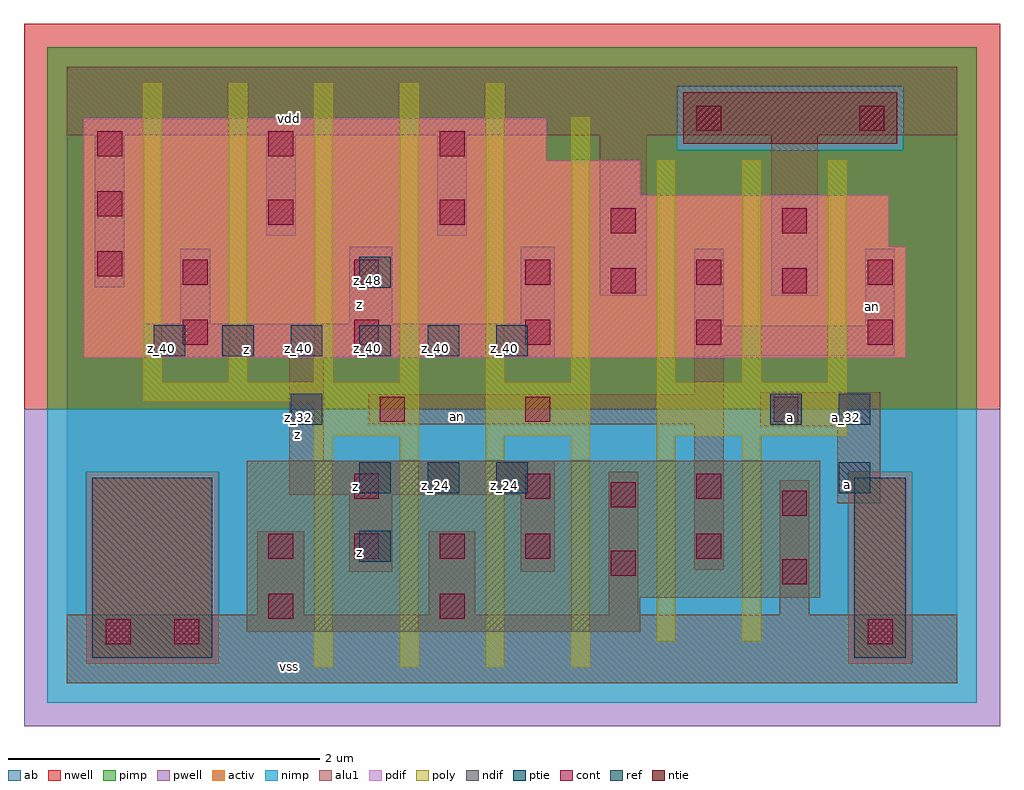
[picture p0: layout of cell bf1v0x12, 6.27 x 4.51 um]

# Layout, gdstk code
import gdstk
lib = gdstk.Library(unit=1e-6, precision=2.5e-09)
def R(c, l, rs):  # rectangles x0, y0, x1, y1
    for r in rs: c.add(gdstk.rectangle(r[:2], r[2:], *l))
def A(c, l, x, y, w, h, nx, ny, dx, dy):  # array of equal rectangles
    R(c, l, [(x+i*dx, y+j*dy, x+i*dx+w, y+j*dy+h) for i in range(nx) for j in range(ny)])
ndif = (3, 0)
pdif = (4, 0)
ntie = (5, 0)
ptie = (6, 0)
ref = (24, 0)
cont = (25, 0)
pwell = (41, 0)
nwell = (42, 0)
activ = (43, 0)
pimp = (44, 0)
nimp = (45, 0)
poly = (46, 0)
alu1 = (49, 0)
ab = (63, 0)

bf1v0x12 = lib.new_cell('bf1v0x12')
R(bf1v0x12, ndif, [(1.155,0.33,3.685,0.55), (1.155,0.55,4.84,1.43)])
R(bf1v0x12, pdif, [(0.11,2.09,5.39,2.805), (0.11,2.805,5.28,3.135), (0.11,3.135,3.685,3.355), (0.11,3.355,3.08,3.63)])
R(bf1v0x12, ntie, [(3.96,3.465,5.335,3.795)])
R(bf1v0x12, ptie, [(0.165,0.165,0.935,1.32), (5.06,0.165,5.39,1.32)])
A(bf1v0x12, ref, 1.88, 1.22, 0.2, 0.2, 3, 1, 0.44, 0)
A(bf1v0x12, ref, 0.56, 2.1, 0.2, 0.2, 6, 1, 0.44, 0)
R(bf1v0x12, ref, [(1.88,0.78,2.08,0.98), (4.96,1.22,5.16,1.42), (1.44,1.66,1.64,1.86), (4.52,1.66,4.72,1.86), (4.96,1.66,5.16,1.86), (1.88,2.54,2.08,2.74)])
A(bf1v0x12, cont, 1.295, 0.8, 0.16, 0.16, 4, 1, 0.55, 0)
A(bf1v0x12, cont, 1.845, 1.185, 0.16, 0.16, 3, 1, 1.1, 0)
A(bf1v0x12, cont, 0.745, 2.175, 0.16, 0.16, 5, 2, 1.1, 0.385)
A(bf1v0x12, cont, 0.195, 3.385, 0.16, 0.16, 3, 1, 1.1, 0)
R(bf1v0x12, cont, [(0.25,0.25,0.41,0.41), (0.69,0.25,0.85,0.41), (5.145,0.25,5.305,0.41), (1.295,0.415,1.455,0.575), (2.395,0.415,2.555,0.575), (4.595,0.635,4.755,0.795), (3.495,0.69,3.655,0.85), (4.045,0.8,4.205,0.96), (4.595,1.075,4.755,1.235), (3.495,1.13,3.655,1.29), (2.01,1.68,2.17,1.84), (2.945,1.68,3.105,1.84), (4.54,1.68,4.7,1.84), (3.495,2.505,3.655,2.665), (4.595,2.505,4.755,2.665), (0.195,2.615,0.355,2.775), (3.495,2.89,3.655,3.05), (4.595,2.89,4.755,3.05), (1.295,2.945,1.455,3.105), (2.395,2.945,2.555,3.105), (0.195,3,0.355,3.16), (4.045,3.55,4.205,3.71), (5.09,3.55,5.25,3.71)])
R(bf1v0x12, pwell, [(-0.275,-0.275,5.995,1.76)])
R(bf1v0x12, nwell, [(-0.275,1.76,5.995,4.235)])
R(bf1v0x12, activ, [(0.165,0.165,0.935,1.32), (5.06,0.165,5.39,1.32), (1.155,0.33,3.685,0.55), (1.155,0.55,4.84,1.43), (0.11,2.09,5.39,2.805), (0.11,2.805,5.28,3.135), (0.11,3.135,3.685,3.355), (0.11,3.355,3.08,3.63), (3.96,3.465,5.335,3.795)])
R(bf1v0x12, pimp, [(0.125,0.125,0.975,1.36), (5.02,0.125,5.43,1.36), (-0.125,1.76,5.845,3.425), (-0.125,3.425,3.92,3.835), (5.375,3.425,5.845,3.835), (-0.125,3.835,5.845,4.085)])
R(bf1v0x12, nimp, [(-0.125,-0.125,5.845,0.125), (-0.125,0.125,0.125,1.36), (0.975,0.125,5.02,1.36), (5.43,0.125,5.845,1.36), (-0.125,1.36,5.845,1.76), (3.92,3.425,5.375,3.835)])
A(bf1v0x12, poly, 1.59, 0.105, 0.12, 1.485, 4, 1, 0.55, 0)
A(bf1v0x12, poly, 0.49, 1.93, 0.12, 1.925, 5, 1, 0.55, 0)
A(bf1v0x12, poly, 3.79, 1.93, 0.12, 1.43, 3, 1, 0.55, 0)
R(bf1v0x12, poly, [(3.79,0.27,3.91,1.59), (4.34,0.27,4.46,1.59), (1.59,1.59,2.26,1.81), (2.69,1.59,3.36,1.93), (3.79,1.59,5.01,1.93), (0.49,1.81,2.26,1.93), (3.24,1.93,3.36,3.635)])
R(bf1v0x12, alu1, [(0,0,5.72,0.44), (1.225,0.44,1.525,0.975), (2.325,0.44,2.625,0.975), (3.48,0.44,3.67,1.36), (4.58,0.44,4.77,1.305), (1.815,0.715,2.09,1.21), (2.915,0.715,3.135,1.21), (4.03,0.73,4.22,1.665), (4.95,1.155,5.225,1.65), (1.43,1.21,3.135,1.43), (1.43,1.43,1.65,2.09), (4.455,1.65,5.225,1.87), (1.94,1.665,4.22,1.855), (4.03,1.855,4.22,2.105), (0.495,2.09,3.135,2.31), (4.03,2.105,5.32,2.295), (4.03,2.295,4.22,2.79), (5.13,2.295,5.32,2.79), (0.73,2.31,0.92,2.79), (1.815,2.31,2.09,2.805), (2.915,2.31,3.135,2.805), (3.425,2.49,3.725,3.52), (4.525,2.49,4.825,3.52), (0.18,2.545,0.37,3.52), (1.28,2.875,1.47,3.52), (2.38,2.875,2.57,3.52), (0,3.52,5.72,3.96)])
R(bf1v0x12, ab, [(0,0,5.72,3.96)])
bf1v0x12.add(gdstk.Label('vss', (1.43,0.11), layer=49, texttype=0))
bf1v0x12.add(gdstk.Label('a', (5.0175,1.2775), layer=49, texttype=0))
bf1v0x12.add(gdstk.Label('a', (4.6475,1.705), layer=49, texttype=0))
bf1v0x12.add(gdstk.Label('z', (1.8825,0.8375), layer=49, texttype=0))
bf1v0x12.add(gdstk.Label('z', (1.855,1.265), layer=49, texttype=0))
bf1v0x12.add(gdstk.Label('an', (2.51,1.7125), layer=49, texttype=0))
bf1v0x12.add(gdstk.Label('z', (1.485,1.595), layer=49, texttype=0))
bf1v0x12.add(gdstk.Label('an', (5.1775,2.4175), layer=49, texttype=0))
bf1v0x12.add(gdstk.Label('z', (1.155,2.145), layer=49, texttype=0))
bf1v0x12.add(gdstk.Label('z', (1.8825,2.4325), layer=49, texttype=0))
bf1v0x12.add(gdstk.Label('vdd', (1.43,3.63), layer=49, texttype=0))
bf1v0x12.add(gdstk.Label('a_32', (5.01,1.71), layer=24, texttype=0))
bf1v0x12.add(gdstk.Label('a_24', (5.01,1.27), layer=24, texttype=0))
bf1v0x12.add(gdstk.Label('a_32', (4.57,1.71), layer=24, texttype=0))
bf1v0x12.add(gdstk.Label('z_40', (2.81,2.15), layer=24, texttype=0))
bf1v0x12.add(gdstk.Label('z_24', (2.81,1.27), layer=24, texttype=0))
bf1v0x12.add(gdstk.Label('z_40', (2.37,2.15), layer=24, texttype=0))
bf1v0x12.add(gdstk.Label('z_24', (2.37,1.27), layer=24, texttype=0))
bf1v0x12.add(gdstk.Label('z_48', (1.93,2.59), layer=24, texttype=0))
bf1v0x12.add(gdstk.Label('z_40', (1.93,2.15), layer=24, texttype=0))
bf1v0x12.add(gdstk.Label('z_24', (1.93,1.27), layer=24, texttype=0))
bf1v0x12.add(gdstk.Label('z_16', (1.93,0.83), layer=24, texttype=0))
bf1v0x12.add(gdstk.Label('z_40', (1.49,2.15), layer=24, texttype=0))
bf1v0x12.add(gdstk.Label('z_32', (1.49,1.71), layer=24, texttype=0))
bf1v0x12.add(gdstk.Label('z_40', (1.05,2.15), layer=24, texttype=0))
bf1v0x12.add(gdstk.Label('z_40', (0.61,2.15), layer=24, texttype=0))

lib.write_gds('bf1v0x12.gds')
